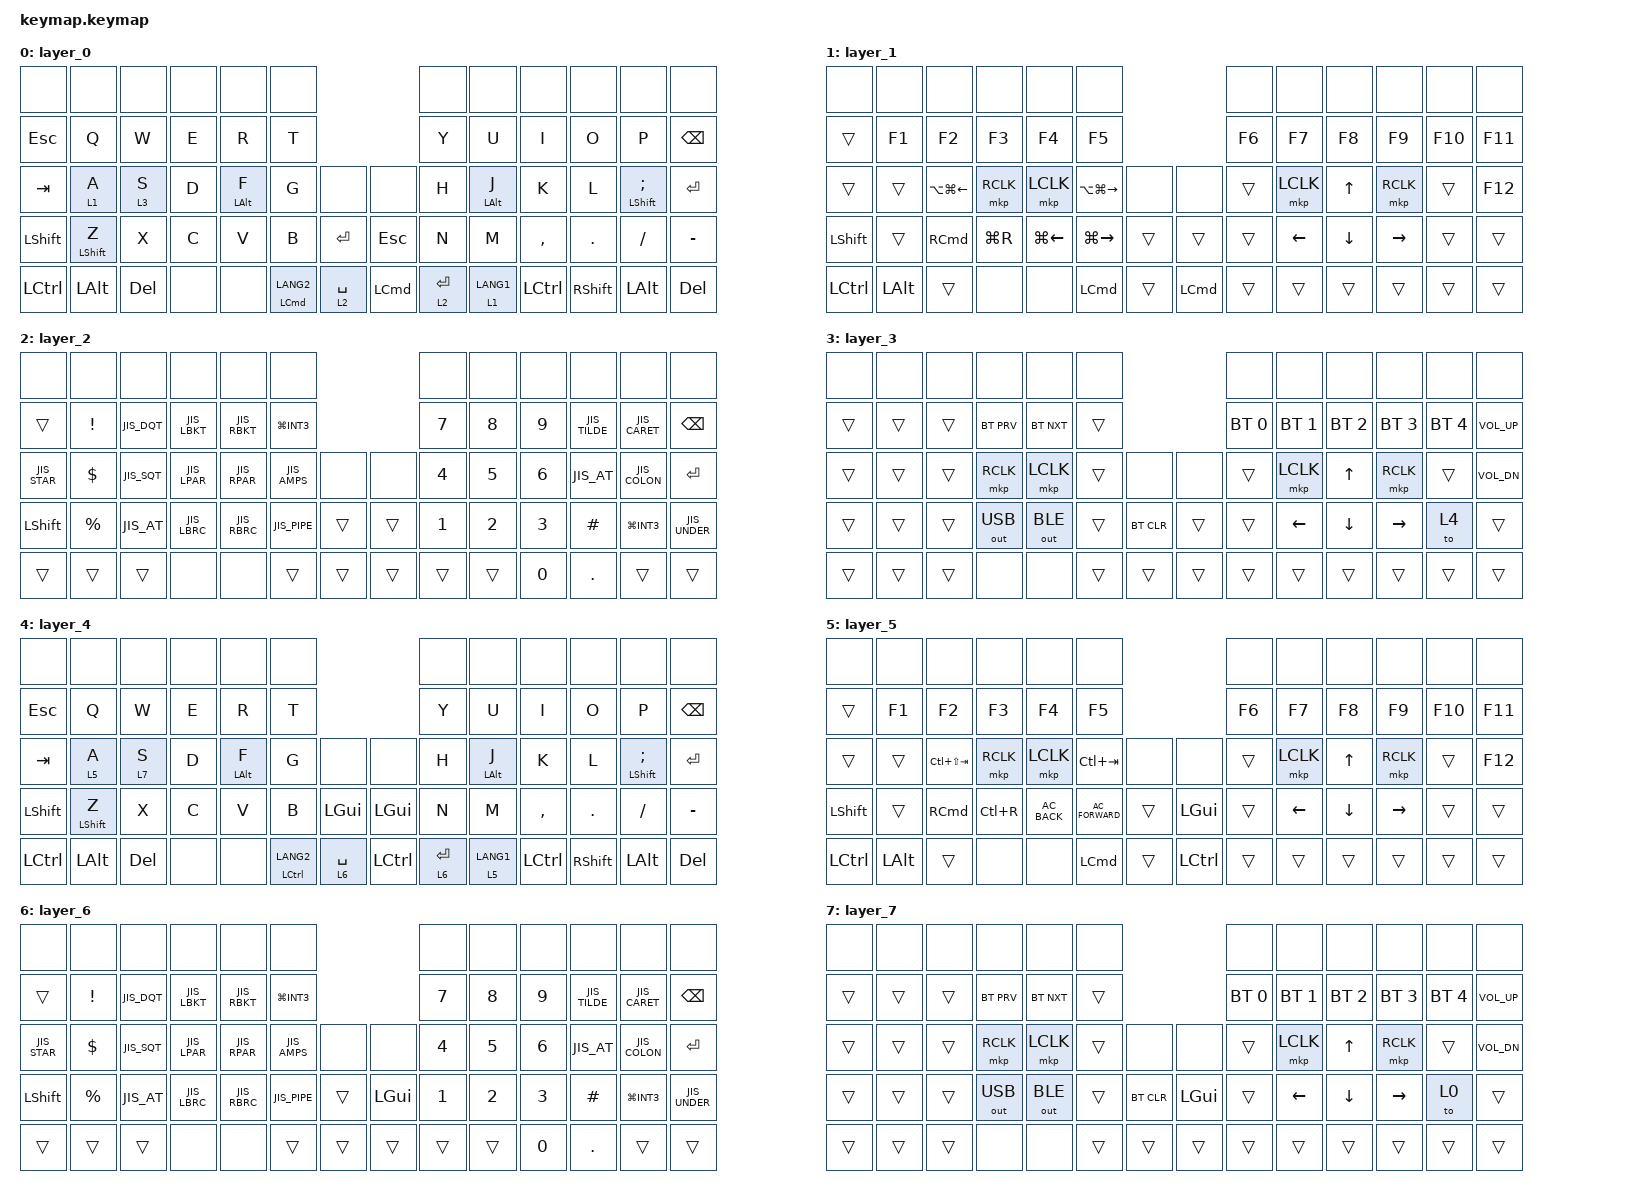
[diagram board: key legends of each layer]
#include <input/processors.dtsi>
#include <dt-bindings/zmk/input_transform.h>
#include <behaviors.dtsi>
#include <dt-bindings/zmk/bt.h>
#include <dt-bindings/zmk/keys.h>
#include <dt-bindings/zmk/outputs.h>
#include <dt-bindings/zmk/pointing.h>
#include "keys_jis.h"

/*
 * mod-tap を tap-preferred に変更:
 * 200ms 以上ホールドした場合のみ修飾キーとして認識し、
 * それ以下の場合は常にタップ（文字入力）として動作する。
 * 対象: Z(LEFT_SHIFT), /(RIGHT_SHIFT), LANG2(LEFT_COMMAND)
 */

&mt {
    flavor = "tap-preferred";
    tapping-term-ms = <200>;
};

/* レイヤー0,1,2,4,5,6: マウスカーソル / レイヤー3: スクロール(Mac) / レイヤー7: スクロール(Windows) */

&trackball_listener {
    input-processors = <&zip_xy_transform (INPUT_TRANSFORM_X_INVERT | INPUT_TRANSFORM_Y_INVERT)>;

    scroller {
        layers = <3>;

        /* Macの自然スクロール向け: Y軸反転を解除 */

        input-processors =
            <&zip_xy_transform INPUT_TRANSFORM_X_INVERT>,
            <&zip_xy_scaler 1 20>,
            <&zip_xy_to_scroll_mapper>;
    };

    scroller_win {
        layers = <7>;

        /* Windowsの標準スクロール向け: Y軸のみ反転 */

        input-processors =
            <&zip_xy_transform INPUT_TRANSFORM_Y_INVERT>,
            <&zip_xy_scaler 1 20>,
            <&zip_xy_to_scroll_mapper>;
    };
};

/ {
    behaviors {
        /*
         * Layer3(スクロール)用のlayer-tap。
         * tap-preferred: 高速タイピング時は通常通りSが入力される。
         * hold-while-undecided: 判定中でもレイヤーを先に有効化するため、
         *   Sを押した直後にトラックボールを動かしてもスクロールとして動作する。
         */

        lt_scroll: layer_tap_scroll {
            compatible = "zmk,behavior-hold-tap";
            #binding-cells = <2>;
            flavor = "tap-preferred";
            tapping-term-ms = <200>;
            hold-while-undecided;
            bindings = <&mo>, <&kp>;
        };
    };

    combos {
        compatible = "zmk,combos";

        /* G+親指(30の下)でペアリングクリア (Fをcomboから外してlayer1の左クリックを有効化) */

        bt_clear {
            bindings = <&bt BT_CLR>;
            key-positions = <29 44>;
            layers = <2>;
        };
    };

    keymap {
        compatible = "zmk,keymap";

        layer_0 {
            bindings = <
&none       &none             &none           &none  &none           &none                                                  &none        &none           &none      &none            &none                &none
&kp ESCAPE  &kp Q             &kp W           &kp E  &kp R           &kp T                                                  &kp Y        &kp U           &kp I      &kp O            &kp P                &kp BSPC
&kp TAB     &lt 1 A           &lt_scroll 3 S  &kp D  &mt LEFT_ALT F  &kp G                   &none        &none             &kp H        &mt LEFT_ALT J  &kp K      &kp L            &mt LEFT_SHIFT SEMI  &kp RETURN
&kp LSHFT   &mt LEFT_SHIFT Z  &kp X           &kp C  &kp V           &kp B                   &kp RETURN   &kp ESCAPE        &kp N        &kp M           &kp COMMA  &kp DOT          &kp SLASH            &kp MINUS
&kp LCTRL   &kp LEFT_ALT      &kp DELETE      &none  &none           &mt LEFT_COMMAND LANG2  &lt 2 SPACE  &kp LEFT_COMMAND  &lt 2 ENTER  &lt 1 LANG1     &kp LCTRL  &kp RIGHT_SHIFT  &kp LEFT_ALT         &kp DELETE
            >;
        };

        layer_1 {
            bindings = <
&none             &none         &none                   &none      &none               &none                                              &none   &none           &none           &none      &none    &none
&trans            &kp F1        &kp F2                  &kp F3     &kp F4              &kp F5                                             &kp F6  &kp F7          &kp F8          &kp F9     &kp F10  &kp F11
&trans            &trans        &kp LA(LG(LEFT_ARROW))  &mkp RCLK  &mkp LCLK           &kp LA(LG(RIGHT_ARROW))  &none   &none             &trans  &mkp LCLK       &kp UP_ARROW    &mkp RCLK  &trans   &kp F12
&kp LEFT_SHIFT    &trans        &kp RIGHT_COMMAND       &kp LG(R)  &kp LG(LEFT_ARROW)  &kp LG(RIGHT_ARROW)      &trans  &trans            &trans  &kp LEFT_ARROW  &kp DOWN_ARROW  &kp RIGHT  &trans   &trans
&kp LEFT_CONTROL  &kp LEFT_ALT  &trans                  &none      &none               &kp LEFT_COMMAND         &trans  &kp LEFT_COMMAND  &trans  &trans          &trans          &trans     &trans   &trans
            >;
        };

        layer_2 {
            bindings = <
&none           &none            &none        &none         &none         &none                         &none         &none         &none         &none          &none          &none
&trans          &kp EXCLAMATION  &kp JIS_DQT  &kp JIS_LBKT  &kp JIS_RBKT  &kp LG(INT3)                  &kp N7        &kp N8        &kp N9        &kp JIS_TILDE  &kp JIS_CARET  &kp BACKSPACE
&kp JIS_STAR    &kp DOLLAR       &kp JIS_SQT  &kp JIS_LPAR  &kp JIS_RPAR  &kp JIS_AMPS  &none   &none   &kp NUMBER_4  &kp N5        &kp NUMBER_6  &kp JIS_AT     &kp JIS_COLON  &kp RETURN
&kp LEFT_SHIFT  &kp PERCENT      &kp JIS_AT   &kp JIS_LBRC  &kp JIS_RBRC  &kp JIS_PIPE  &trans  &trans  &kp NUMBER_1  &kp NUMBER_2  &kp NUMBER_3  &kp HASH       &kp LG(INT3)   &kp JIS_UNDER
&trans          &trans           &trans       &none         &none         &trans        &trans  &trans  &trans        &trans        &kp N0        &kp PERIOD     &trans         &trans
            >;
        };

        layer_3 {
            bindings = <
&none   &none   &none   &none         &none         &none                       &none   &none           &none           &none            &none    &none
&trans  &trans  &trans  &bt BT_PRV    &bt BT_NXT    &trans                      &bt BT_SEL 0  &bt BT_SEL 1    &bt BT_SEL 2    &bt BT_SEL 3     &bt BT_SEL 4  &kp C_VOL_UP
&trans  &trans  &trans  &mkp RCLK     &mkp LCLK     &trans  &none       &none   &trans  &mkp LCLK       &kp UP_ARROW    &mkp RCLK        &trans   &kp C_VOL_DN
&trans  &trans  &trans  &out OUT_USB  &out OUT_BLE  &trans  &bt BT_CLR  &trans  &trans  &kp LEFT_ARROW  &kp DOWN_ARROW  &kp RIGHT_ARROW  &to 4    &trans
&trans  &trans  &trans  &none         &none         &trans  &trans      &trans  &trans  &trans          &trans          &trans           &trans   &trans
            >;
        };

        layer_4 {
            bindings = <
&none       &none             &none       &none  &none           &none                                                  &none        &none           &none      &none            &none                &none
&kp ESCAPE  &kp Q             &kp W       &kp E  &kp R           &kp T                                                  &kp Y        &kp U           &kp I      &kp O            &kp P                &kp BSPC
&kp TAB     &lt 5 A           &lt_scroll 7 S  &kp D  &mt LEFT_ALT F  &kp G                   &none        &none             &kp H        &mt LEFT_ALT J  &kp K      &kp L            &mt LEFT_SHIFT SEMI  &kp RETURN
&kp LSHFT   &mt LEFT_SHIFT Z  &kp X       &kp C  &kp V           &kp B                   &kp LEFT_GUI &kp LEFT_GUI      &kp N        &kp M           &kp COMMA  &kp DOT          &kp SLASH            &kp MINUS
&kp LCTRL   &kp LEFT_ALT      &kp DELETE  &none  &none           &mt LCTRL LANG2         &lt 6 SPACE  &kp LCTRL         &lt 6 ENTER  &lt 5 LANG1     &kp LCTRL  &kp RIGHT_SHIFT  &kp LEFT_ALT         &kp DELETE
            >;
        };

        layer_5 {
            bindings = <
&none             &none         &none               &none      &none           &none                                              &none        &none           &none           &none      &none    &none
&trans            &kp F1        &kp F2              &kp F3     &kp F4          &kp F5                                             &kp F6       &kp F7          &kp F8          &kp F9     &kp F10  &kp F11
&trans            &trans        &kp LC(LS(TAB))     &mkp RCLK  &mkp LCLK       &kp LC(TAB)              &none   &none             &trans       &mkp LCLK       &kp UP_ARROW    &mkp RCLK  &trans   &kp F12
&kp LEFT_SHIFT    &trans        &kp RIGHT_COMMAND   &kp LC(R)  &kp C_AC_BACK   &kp C_AC_FORWARD         &trans  &kp LEFT_GUI      &trans       &kp LEFT_ARROW  &kp DOWN_ARROW  &kp RIGHT  &trans   &trans
&kp LEFT_CONTROL  &kp LEFT_ALT  &trans              &none      &none           &kp LEFT_COMMAND         &trans  &kp LCTRL         &trans       &trans          &trans          &trans     &trans   &trans
            >;
        };

        layer_6 {
            bindings = <
&none           &none            &none        &none         &none         &none                         &none        &none         &none         &none          &none             &none
&trans          &kp EXCLAMATION  &kp JIS_DQT  &kp JIS_LBKT  &kp JIS_RBKT  &kp LG(INT3)                  &kp N7       &kp N8        &kp N9        &kp JIS_TILDE  &kp JIS_CARET     &kp BACKSPACE
&kp JIS_STAR    &kp DOLLAR       &kp JIS_SQT  &kp JIS_LPAR  &kp JIS_RPAR  &kp JIS_AMPS  &none   &none   &kp NUMBER_4 &kp N5        &kp NUMBER_6  &kp JIS_AT     &kp JIS_COLON     &kp RETURN
&kp LEFT_SHIFT  &kp PERCENT      &kp JIS_AT   &kp JIS_LBRC  &kp JIS_RBRC  &kp JIS_PIPE  &trans  &kp LEFT_GUI  &kp NUMBER_1 &kp NUMBER_2  &kp NUMBER_3  &kp HASH       &kp LG(INT3)      &kp JIS_UNDER
&trans          &trans           &trans       &none         &none         &trans        &trans  &trans  &trans       &trans        &kp N0        &kp PERIOD     &trans            &trans
            >;
        };

        layer_7 {
            bindings = <
&none   &none   &none   &none         &none         &none                           &none        &none           &none           &none            &none    &none
&trans  &trans  &trans  &bt BT_PRV    &bt BT_NXT    &trans                          &bt BT_SEL 0  &bt BT_SEL 1    &bt BT_SEL 2    &bt BT_SEL 3     &bt BT_SEL 4  &kp C_VOL_UP
&trans  &trans  &trans  &mkp RCLK     &mkp LCLK     &trans      &none       &none   &trans       &mkp LCLK       &kp UP_ARROW    &mkp RCLK        &trans   &kp C_VOL_DN
&trans  &trans  &trans  &out OUT_USB  &out OUT_BLE  &trans      &bt BT_CLR  &kp LEFT_GUI  &trans       &kp LEFT_ARROW  &kp DOWN_ARROW  &kp RIGHT_ARROW  &to 0    &trans
&trans  &trans  &trans  &none         &none         &trans      &trans      &trans  &trans       &trans          &trans          &trans           &trans   &trans
            >;
        };
    };
};
